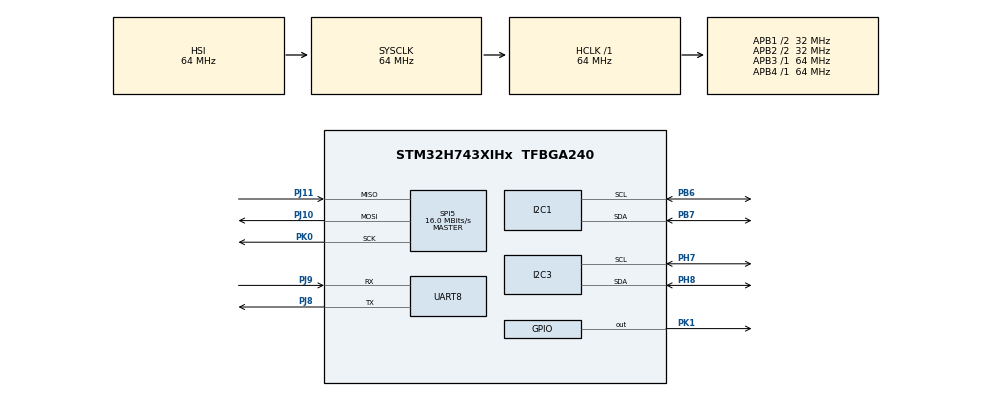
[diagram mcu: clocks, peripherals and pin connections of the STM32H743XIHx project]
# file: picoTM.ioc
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CORTEX_M7.default_mode_Activation=1
I2C1.Timing=0x00707CBB
I2C3.Timing=0x00707CBB
Mcu.Family=STM32H7
Mcu.Name=STM32H743XIHx
Mcu.Package=TFBGA240
NVIC.PriorityGroup=NVIC_PRIORITYGROUP_4
PA13\ (JTMS/SWDIO).Mode=Serial_Wire
PA13\ (JTMS/SWDIO).Signal=DEBUG_JTMS-SWDIO
PA14\ (JTCK/SWCLK).Mode=Serial_Wire
PA14\ (JTCK/SWCLK).Signal=DEBUG_JTCK-SWCLK
PB6.GPIO_Pu=GPIO_PULLUP
PB6.Mode=I2C
PB6.Signal=I2C1_SCL
PB7.GPIO_Pu=GPIO_PULLUP
PB7.Mode=I2C
PB7.Signal=I2C1_SDA
PH7.Mode=I2C
PH7.Signal=I2C3_SCL
PH8.Mode=I2C
PH8.Signal=I2C3_SDA
PJ10.Mode=Full_Duplex_Master
PJ10.Signal=SPI5_MOSI
PJ11.Mode=Full_Duplex_Master
PJ11.Signal=SPI5_MISO
PJ8.Mode=Asynchronous
PJ8.Signal=UART8_TX
PJ9.Mode=Asynchronous
PJ9.Signal=UART8_RX
PK0.Mode=Full_Duplex_Master
PK0.Signal=SPI5_SCK
PK1.Signal=GPIO_Output
ProjectManager.HeapSize=0x1500
ProjectManager.StackSize=0x800
ProjectManager.TargetToolchain=STM32CubeIDE
RCC.ADCFreq_Value=129000000
RCC.APB1Freq_Value=32000000
RCC.APB2Freq_Value=32000000
RCC.APB3Freq_Value=64000000
RCC.APB4Freq_Value=64000000
RCC.CortexFreq_Value=64000000
RCC.D2PPRE1=RCC_APB1_DIV2
RCC.D2PPRE2=RCC_APB2_DIV2
RCC.HCLKFreq_Value=64000000
RCC.SYSCLKFreq_VALUE=64000000
RCC.USBFreq_Value=129000000
SPI5.CLKPhase=SPI_PHASE_1EDGE
SPI5.CLKPolarity=SPI_POLARITY_HIGH
SPI5.CalculateBaudRate=16.0 MBits/s
SPI5.DataSize=SPI_DATASIZE_8BIT
SPI5.Direction=SPI_DIRECTION_2LINES
SPI5.Mode=SPI_MODE_MASTER
SPI5.NSSPMode=SPI_NSS_PULSE_DISABLE
SPI5.VirtualType=VM_MASTER
VP_MEMORYMAP_VS_MEMORYMAP.Mode=CurAppReg
board=custom

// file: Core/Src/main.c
/* USER CODE BEGIN Header */
/**
  ******************************************************************************
  * @file           : main.c
  * @brief          : Main program body
  ******************************************************************************
  * @attention
  *
  * Copyright (c) 2025 STMicroelectronics.
  * All rights reserved.
  *
  * This software is licensed under terms that can be found in the LICENSE file
  * in the root directory of this software component.
  * If no LICENSE file comes with this software, it is provided AS-IS.
  *
  ******************************************************************************
  */
/* USER CODE END Header */
#include "main.h"

/* USER CODE BEGIN Includes */
#include <string.h>
#include <stdio.h>
#include "daemon.h"
#include "cotfactory.h"
void osDelay(uint32_t delay){
	HAL_Delay(delay);
};
#if defined ( __GNUC__) && !defined(__clang__)
#define PUTCHAR_PROTOTYPE int __io_putchar(int ch)
#else
#define PUTCHAR_PROTOTYPE int fputc(int ch, FILE *f)
#endif

IC3Daemon ic3 = {0};
#include "apds9250_light.h"
#include "ms8607_pth.h"
#include "max1704x_fuel_gauge.h"
#include "lsm6dsl_accel_gyro.h"
#include "fuel_level_adc.h"
//#include "ads1x1x.h"
//#include "als_mpm_2f.h"

/* USER CODE END Includes */

I2C_HandleTypeDef hi2c1;
I2C_HandleTypeDef hi2c3;

SPI_HandleTypeDef hspi5;

UART_HandleTypeDef huart8;

void SystemClock_Config(void);
static void MPU_Config(void);
static void MX_GPIO_Init(void);
static void MX_I2C3_Init(void);
static void MX_SPI5_Init(void);
static void MX_UART8_Init(void);
static void MX_I2C1_Init(void);
/* USER CODE BEGIN PFP */

int __io_putchar (int ch)
{
 HAL_UART_Transmit (&huart8, (uint8_t *) &ch, 1, 0xFFFF);
 return ch;
}

COT_DATA data;
/* USER CODE END PFP */

int main(void)
{

  /* USER CODE BEGIN 1 */
//	uint8_t buf[128];
//	COT_DATA data;
//	uint16_t red, green, blue, clear;
//	float temperature, pressure, humidity;
  /* USER CODE END 1 */

  /* MPU Configuration--------------------------------------------------------*/
  MPU_Config();

  /* MCU Configuration--------------------------------------------------------*/

  /* Reset of all peripherals, Initializes the Flash interface and the Systick. */
  HAL_Init();

  /* Configure the system clock */
  SystemClock_Config();

  /* Initialize all configured peripherals */
  MX_GPIO_Init();
  MX_I2C3_Init();
  MX_SPI5_Init();
  MX_UART8_Init();
  MX_I2C1_Init();
  /* USER CODE BEGIN 2 */

  if(!Sensor_I2C1_Init()){printf("Fail to init i2c1 for als-mpm-2f\r\n\n");}

  if(!apds9250_init()){printf("Fail to init apds9250\r\n\n");}
  if(!ms8607_init()){printf("Fail to init ms86907\r\n\n");}
  if(!max1704x_init()){printf("Fail to init max1704x\r\n\n");}
  if(!lsm6dsl_init()){printf("Fail to init lsm6dsl\r\n\n");}
  /* USER CODE END 2 */

  /* Infinite loop */
  /* USER CODE BEGIN WHILE */
  ic3.wdepth_resistor = 250;
  char* anm = "Hello world\r\n";
  uint8_t count = 1;
  while (count)
  {
	  max1704x_get_vcell(&data);
	  max1704x_get_soc(&data);
	  max1704x_get_crate(&data);
	  ms8607_get_pt(&data);
	  ms8607_get_rh(&data);
	  apds9250_get_rgb(&data);
	  lsm6dsl_get_out_xl_g(&data);
	  wdepth_get_data(&data);

//	  float water_level = 0.0000f;
//	  if(ALS_MPM2F_ReadLevel(&als_mpm2f, &water_level) == 0)
//	  {
//	      printf("Water Level: %.4f m\r\n", water_level);
//	  }

//	  ADS1x1x_start_conversion(&ads_config);
//	  HAL_Delay(10);  // Wait for conversion to complete
//	  int16_t adc_value = ADS1x1x_read(&ads_config);
//	  printf("ADS1x1x ADC Value: %d\r\n", adc_value);

	  /* Format and transmit sensor data over UART */
	  printf("---------------\r\Wdepth V: %.2f, Wdepth A: %.5f, Wdepth depth: %.2f\r\n",
	  			  data.wdepth.voltage, data.wdepth.current, data.wdepth.depth);
//	  printf("---------------\r\GX: %.2f, GY: %.2f, GZ: %.2f\r\nXLX: %.2f, XLY: %.2f, XLZ: %.2f\r\n",
//			  data.xlgyr.gx, data.xlgyr.gy, data.xlgyr.gz, data.xlgyr.xlx, data.xlgyr.xly, data.xlgyr.xlz);
//	  printf("Vcell: %.2f, SOC: %.2f, Crate: %.2f\r\n",
//			  data.fgauge.vcell, data.fgauge.soc, data.fgauge.crate);
//	  printf("Temp: %.2f C, P: %.2f hPa, H: %.2f\r\n",
//	  			  data.pth.temperature, data.pth.pressure, data.pth.humidity);
//	  printf("R:%lu G:%lu B:%lu IR:%lu\r\n---------------\r\n",
//	  			  data.light.red, data.light.green, data.light.blue, data.light.ir);
//	  HAL_UART_Transmit(&huart8, buf, strlen((char*)buf), HAL_MAX_DELAY);

//	  HAL_UART_Transmit(&huart8, anm, strlen(anm), HAL_MAX_DELAY);
	  HAL_Delay(1000);
//	  ms8607_reset_pt();
//	  ms8607_reset_rh();
    /* USER CODE END WHILE */

    /* USER CODE BEGIN 3 */
//	  count--;
  }
  /* USER CODE END 3 */
}

void SystemClock_Config(void)
{
  RCC_OscInitTypeDef RCC_OscInitStruct = {0};
  RCC_ClkInitTypeDef RCC_ClkInitStruct = {0};

  /** Supply configuration update enable
  */
  HAL_PWREx_ConfigSupply(PWR_LDO_SUPPLY);

  /** Configure the main internal regulator output voltage
  */
  __HAL_PWR_VOLTAGESCALING_CONFIG(PWR_REGULATOR_VOLTAGE_SCALE3);

  while(!__HAL_PWR_GET_FLAG(PWR_FLAG_VOSRDY)) {}

  /** Initializes the RCC Oscillators according to the specified parameters
  * in the RCC_OscInitTypeDef structure.
  */
  RCC_OscInitStruct.OscillatorType = RCC_OSCILLATORTYPE_HSI;
  RCC_OscInitStruct.HSIState = RCC_HSI_DIV1;
  RCC_OscInitStruct.HSICalibrationValue = RCC_HSICALIBRATION_DEFAULT;
  RCC_OscInitStruct.PLL.PLLState = RCC_PLL_NONE;
  if (HAL_RCC_OscConfig(&RCC_OscInitStruct) != HAL_OK)
  {
    Error_Handler();
  }

  /** Initializes the CPU, AHB and APB buses clocks
  */
  RCC_ClkInitStruct.ClockType = RCC_CLOCKTYPE_HCLK|RCC_CLOCKTYPE_SYSCLK
                              |RCC_CLOCKTYPE_PCLK1|RCC_CLOCKTYPE_PCLK2
                              |RCC_CLOCKTYPE_D3PCLK1|RCC_CLOCKTYPE_D1PCLK1;
  RCC_ClkInitStruct.SYSCLKSource = RCC_SYSCLKSOURCE_HSI;
  RCC_ClkInitStruct.SYSCLKDivider = RCC_SYSCLK_DIV1;
  RCC_ClkInitStruct.AHBCLKDivider = RCC_HCLK_DIV1;
  RCC_ClkInitStruct.APB3CLKDivider = RCC_APB3_DIV1;
  RCC_ClkInitStruct.APB1CLKDivider = RCC_APB1_DIV2;
  RCC_ClkInitStruct.APB2CLKDivider = RCC_APB2_DIV2;
  RCC_ClkInitStruct.APB4CLKDivider = RCC_APB4_DIV1;

  if (HAL_RCC_ClockConfig(&RCC_ClkInitStruct, FLASH_LATENCY_1) != HAL_OK)
  {
    Error_Handler();
  }
}

static void MX_I2C1_Init(void)
{

  hi2c1.Instance = I2C1;
  hi2c1.Init.Timing = 0x00707CBB;
  hi2c1.Init.OwnAddress1 = 0;
  hi2c1.Init.AddressingMode = I2C_ADDRESSINGMODE_7BIT;
  hi2c1.Init.DualAddressMode = I2C_DUALADDRESS_DISABLE;
  hi2c1.Init.OwnAddress2 = 0;
  hi2c1.Init.OwnAddress2Masks = I2C_OA2_NOMASK;
  hi2c1.Init.GeneralCallMode = I2C_GENERALCALL_DISABLE;
  hi2c1.Init.NoStretchMode = I2C_NOSTRETCH_DISABLE;
  if (HAL_I2C_Init(&hi2c1) != HAL_OK)
  {
    Error_Handler();
  }

  /** Configure Analogue filter
  */
  if (HAL_I2CEx_ConfigAnalogFilter(&hi2c1, I2C_ANALOGFILTER_ENABLE) != HAL_OK)
  {
    Error_Handler();
  }

  /** Configure Digital filter
  */
  if (HAL_I2CEx_ConfigDigitalFilter(&hi2c1, 0) != HAL_OK)
  {
    Error_Handler();
  }

}

static void MX_I2C3_Init(void)
{

  hi2c3.Instance = I2C3;
  hi2c3.Init.Timing = 0x00707CBB;
  hi2c3.Init.OwnAddress1 = 0;
  hi2c3.Init.AddressingMode = I2C_ADDRESSINGMODE_7BIT;
  hi2c3.Init.DualAddressMode = I2C_DUALADDRESS_DISABLE;
  hi2c3.Init.OwnAddress2 = 0;
  hi2c3.Init.OwnAddress2Masks = I2C_OA2_NOMASK;
  hi2c3.Init.GeneralCallMode = I2C_GENERALCALL_DISABLE;
  hi2c3.Init.NoStretchMode = I2C_NOSTRETCH_DISABLE;
  if (HAL_I2C_Init(&hi2c3) != HAL_OK)
  {
    Error_Handler();
  }

  /** Configure Analogue filter
  */
  if (HAL_I2CEx_ConfigAnalogFilter(&hi2c3, I2C_ANALOGFILTER_ENABLE) != HAL_OK)
  {
    Error_Handler();
  }

  /** Configure Digital filter
  */
  if (HAL_I2CEx_ConfigDigitalFilter(&hi2c3, 0) != HAL_OK)
  {
    Error_Handler();
  }

}

static void MX_SPI5_Init(void)
{

  /* SPI5 parameter configuration*/
  hspi5.Instance = SPI5;
  hspi5.Init.Mode = SPI_MODE_MASTER;
  hspi5.Init.Direction = SPI_DIRECTION_2LINES;
  hspi5.Init.DataSize = SPI_DATASIZE_8BIT;
  hspi5.Init.CLKPolarity = SPI_POLARITY_HIGH;
  hspi5.Init.CLKPhase = SPI_PHASE_1EDGE;
  hspi5.Init.NSS = SPI_NSS_SOFT;
  hspi5.Init.BaudRatePrescaler = SPI_BAUDRATEPRESCALER_2;
  hspi5.Init.FirstBit = SPI_FIRSTBIT_MSB;
  hspi5.Init.TIMode = SPI_TIMODE_DISABLE;
  hspi5.Init.CRCCalculation = SPI_CRCCALCULATION_DISABLE;
  hspi5.Init.CRCPolynomial = 0x0;
  hspi5.Init.NSSPMode = SPI_NSS_PULSE_DISABLE;
  hspi5.Init.NSSPolarity = SPI_NSS_POLARITY_LOW;
  hspi5.Init.FifoThreshold = SPI_FIFO_THRESHOLD_01DATA;
  hspi5.Init.TxCRCInitializationPattern = SPI_CRC_INITIALIZATION_ALL_ZERO_PATTERN;
  hspi5.Init.RxCRCInitializationPattern = SPI_CRC_INITIALIZATION_ALL_ZERO_PATTERN;
  hspi5.Init.MasterSSIdleness = SPI_MASTER_SS_IDLENESS_00CYCLE;
  hspi5.Init.MasterInterDataIdleness = SPI_MASTER_INTERDATA_IDLENESS_00CYCLE;
  hspi5.Init.MasterReceiverAutoSusp = SPI_MASTER_RX_AUTOSUSP_DISABLE;
  hspi5.Init.MasterKeepIOState = SPI_MASTER_KEEP_IO_STATE_DISABLE;
  hspi5.Init.IOSwap = SPI_IO_SWAP_DISABLE;
  if (HAL_SPI_Init(&hspi5) != HAL_OK)
  {
    Error_Handler();
  }

}

static void MX_UART8_Init(void)
{

  huart8.Instance = UART8;
  huart8.Init.BaudRate = 115200;
  huart8.Init.WordLength = UART_WORDLENGTH_8B;
  huart8.Init.StopBits = UART_STOPBITS_1;
  huart8.Init.Parity = UART_PARITY_NONE;
  huart8.Init.Mode = UART_MODE_TX_RX;
  huart8.Init.HwFlowCtl = UART_HWCONTROL_NONE;
  huart8.Init.OverSampling = UART_OVERSAMPLING_16;
  huart8.Init.OneBitSampling = UART_ONE_BIT_SAMPLE_DISABLE;
  huart8.Init.ClockPrescaler = UART_PRESCALER_DIV1;
  huart8.AdvancedInit.AdvFeatureInit = UART_ADVFEATURE_NO_INIT;
  if (HAL_UART_Init(&huart8) != HAL_OK)
  {
    Error_Handler();
  }
  if (HAL_UARTEx_SetTxFifoThreshold(&huart8, UART_TXFIFO_THRESHOLD_1_8) != HAL_OK)
  {
    Error_Handler();
  }
  if (HAL_UARTEx_SetRxFifoThreshold(&huart8, UART_RXFIFO_THRESHOLD_1_8) != HAL_OK)
  {
    Error_Handler();
  }
  if (HAL_UARTEx_DisableFifoMode(&huart8) != HAL_OK)
  {
    Error_Handler();
  }

}

static void MX_GPIO_Init(void)
{
  GPIO_InitTypeDef GPIO_InitStruct = {0};

  /* GPIO Ports Clock Enable */
  __HAL_RCC_GPIOB_CLK_ENABLE();
  __HAL_RCC_GPIOA_CLK_ENABLE();
  __HAL_RCC_GPIOK_CLK_ENABLE();
  __HAL_RCC_GPIOJ_CLK_ENABLE();
  __HAL_RCC_GPIOH_CLK_ENABLE();

  /*Configure GPIO pin Output Level */
  HAL_GPIO_WritePin(GPIOK, GPIO_PIN_1, GPIO_PIN_RESET);

  /*Configure GPIO pin : PK1 */
  GPIO_InitStruct.Pin = GPIO_PIN_1;
  GPIO_InitStruct.Mode = GPIO_MODE_OUTPUT_PP;
  GPIO_InitStruct.Pull = GPIO_NOPULL;
  GPIO_InitStruct.Speed = GPIO_SPEED_FREQ_LOW;
  HAL_GPIO_Init(GPIOK, &GPIO_InitStruct);

}

 /* MPU Configuration */

void MPU_Config(void)
{
  MPU_Region_InitTypeDef MPU_InitStruct = {0};

  /* Disables the MPU */
  HAL_MPU_Disable();

  /** Initializes and configures the Region and the memory to be protected
  */
  MPU_InitStruct.Enable = MPU_REGION_ENABLE;
  MPU_InitStruct.Number = MPU_REGION_NUMBER0;
  MPU_InitStruct.BaseAddress = 0x0;
  MPU_InitStruct.Size = MPU_REGION_SIZE_4GB;
  MPU_InitStruct.SubRegionDisable = 0x87;
  MPU_InitStruct.TypeExtField = MPU_TEX_LEVEL0;
  MPU_InitStruct.AccessPermission = MPU_REGION_NO_ACCESS;
  MPU_InitStruct.DisableExec = MPU_INSTRUCTION_ACCESS_DISABLE;
  MPU_InitStruct.IsShareable = MPU_ACCESS_SHAREABLE;
  MPU_InitStruct.IsCacheable = MPU_ACCESS_NOT_CACHEABLE;
  MPU_InitStruct.IsBufferable = MPU_ACCESS_NOT_BUFFERABLE;

  HAL_MPU_ConfigRegion(&MPU_InitStruct);
  /* Enables the MPU */
  HAL_MPU_Enable(MPU_PRIVILEGED_DEFAULT);

}

void Error_Handler(void)
{
  __disable_irq();
  while (1)
  {
  }
}
